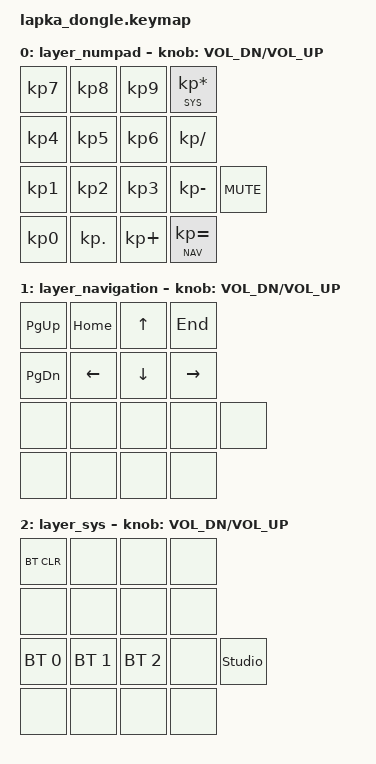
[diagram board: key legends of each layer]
#include <behaviors.dtsi>
#include <dt-bindings/zmk/keys.h>
#include <dt-bindings/zmk/bt.h>

#define NUM 0
#define NAV 0
#define SYS 1

/ {
    keymap {
    compatible = "zmk,keymap";

    layer_numpad {

    // +---------------------------+
    // |   7  |   8  |   9  |   *  |
    // +------+------+------+------+
    // |   4  |   5  |   6  |   /  |
    // +------+------+------+------+-------+
    // |   1  |   2  |   3  |   *  | MUTE  |
    // +------+------+------+------+-------+
    // |   0  |   .  |  +   |   =  |
    // +------+------+------+------+


    bindings = <

        &kp KP_N7       &kp KP_N8        &kp KP_N9        &lt SYS KP_MULTIPLY
        &kp KP_N4       &kp KP_N5        &kp KP_N6        &kp KP_DIVIDE
        &kp KP_N1       &kp KP_N2        &kp KP_N3        &kp KP_MINUS          &kp K_MUTE
        &kp KP_N0       &kp KP_DOT       &kp KP_PLUS      &lt NAV KP_EQUAL
        >;

        sensor-bindings = <&inc_dec_kp C_VOL_DN C_VOL_UP>;
    };

    layer_navigation {

    // +---------------------------+
    // |      |      |      |      |
    // +------+------+------+------+
    // |      |      |      |      |
    // +------+------+------+------+-------+
    // |      |      |      |      |       |
    // +------+------+------+------+-------+
    // |      |      |      |      |
    // +------+------+------+------+


    bindings = <

        &kp PG_UP       &kp HOME         &kp UP_ARROW     &kp END
        &kp PG_DN       &kp LEFT_ARROW   &kp DOWN_ARROW   &kp RIGHT_ARROW
        &none           &none            &none            &none                 &none
        &none           &none            &none            &none
        >;

        sensor-bindings = <&inc_dec_kp C_VOL_DN C_VOL_UP>;
    };

    layer_sys {
    // +---------------------------+
    // |CLEAR |      |      |      |
    // +------+------+------+------+
    // |      |      |      |      |
    // +------+------+------+------+-------+
    // | PF1  | PF2  |  PF3 |      |  std  |
    // +------+------+------+------+-------+
    // |      |      |      |      |
    // +------+------+------+------+


    bindings = <

        &bt BT_CLR      &none         &none           &none
        &none           &none         &none           &none
        &bt BT_SEL 0    &bt BT_SEL 1  &bt BT_SEL 2    &none                     &studio_unlock
        &none           &none         &none           &none
        >;

        sensor-bindings = <&inc_dec_kp C_VOL_DN C_VOL_UP>;
    };
};
};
